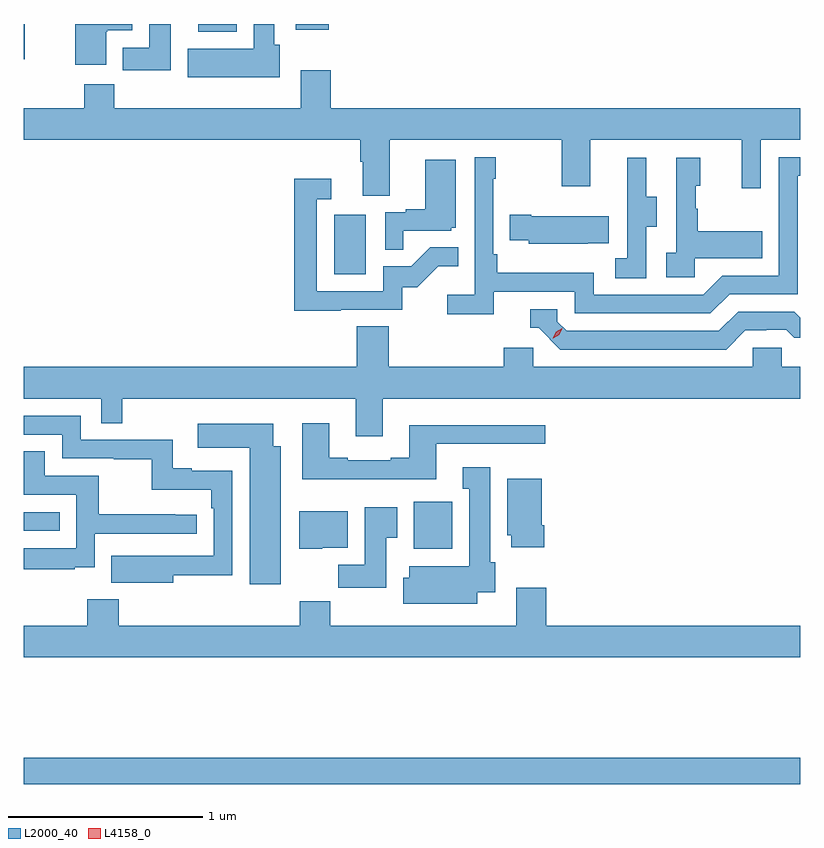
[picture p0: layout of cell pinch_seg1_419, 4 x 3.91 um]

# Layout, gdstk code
import gdstk
lib = gdstk.Library(unit=1e-6, precision=1e-09)
def R(c, l, rs):  # rectangles x0, y0, x1, y1
    for r in rs: c.add(gdstk.rectangle(r[:2], r[2:], *l))
def P(c, l, *ps):  # polygons
    for p in ps: c.add(gdstk.Polygon(p, *l))
L2000_40 = (2000, 40)
L4158_0 = (4158, 0)

pinch_seg1_419 = lib.new_cell('pinch_seg1_419')
R(pinch_seg1_419, L2000_40, [(935.171,523.108,939.171,523.244), (937.181,524.318,937.378,524.56), (935.171,524.412,935.357,524.508), (936.77,525.732,936.934,526.039), (935.171,526.839,935.176,527.021), (936.071,526.982,936.268,527.021), (936.572,526.992,936.743,527.021)])
P(pinch_seg1_419, L2000_40, [(935.596,526.982),(935.602,526.982),(935.602,526.988),(935.731,526.988),(935.731,527.021),(935.438,527.021),(935.438,526.812),(935.596,526.812)],
  [(936.49,526.914),(936.463,526.914),(936.463,527.021),(936.356,527.021),(936.356,526.894),(936.017,526.894),(936.017,526.748),(936.49,526.748)],
  [(935.929,527.021),(935.819,527.021),(935.819,526.9),(935.681,526.9),(935.681,526.782),(935.929,526.782)],
  [(936.905,526.312),(936.917,526.312),(936.917,526.138),(937.057,526.138),(937.057,526.424),(937.942,526.424),(937.942,526.185),(938.089,526.185),(938.089,526.424),(938.87,526.424),(938.87,526.176),(938.967,526.176),(938.967,526.424),(939.171,526.424),(939.171,526.588),(936.752,526.588),(936.752,526.783),(936.599,526.783),(936.599,526.588),(935.639,526.588),(935.639,526.712),(935.483,526.712),(935.483,526.588),(935.171,526.588),(935.171,526.424),(936.905,526.424)],
  [(937.592,525.642),(938.01,525.642),(938.01,525.531),(938.707,525.531),(938.806,525.63),(939.156,525.63),(939.156,526.239),(939.171,526.239),(939.171,526.335),(939.06,526.335),(939.06,525.726),(938.769,525.726),(938.67,525.627),(938.106,525.627),(938.106,525.739),(937.61,525.739),(937.61,525.835),(937.59,525.835),(937.59,526.223),(937.603,526.223),(937.603,526.336),(937.494,526.336),(937.494,525.628),(937.353,525.628),(937.353,525.526),(937.592,525.526)],
  [(938.628,525.815),(938.975,525.815),(938.975,525.955),(938.641,525.955),(938.641,526.07),(938.631,526.07),(938.631,526.188),(938.656,526.188),(938.656,526.333),(938.532,526.333),(938.532,525.842),(938.481,525.842),(938.481,525.717),(938.628,525.717)],
  [(938.376,525.976),(938.431,525.976),(938.431,526.131),(938.377,526.131),(938.377,526.333),(938.279,526.333),(938.279,526.119),(938.28,526.119),(938.28,525.815),(938.217,525.815),(938.217,525.712),(938.376,525.712)],
  [(937.127,525.957),(937.374,525.957),(937.374,525.972),(937.396,525.972),(937.396,526.321),(937.238,526.321),(937.238,526.066),(937.139,526.066),(937.139,526.053),(937.032,526.053),(937.032,525.859),(937.127,525.859)],
  [(936.803,525.549),(937.122,525.549),(937.122,525.666),(937.198,525.666),(937.305,525.773),(937.409,525.773),(937.409,525.872),(937.265,525.872),(937.167,525.774),(937.023,525.774),(937.023,525.645),(936.681,525.645),(936.681,526.119),(936.754,526.119),(936.754,526.225),(936.565,526.225),(936.565,525.544),(936.803,525.544)],
  [(938.075,525.893),(938.183,525.893),(938.183,526.03),(937.786,526.03),(937.786,526.038),(937.675,526.038),(937.675,525.908),(937.773,525.908),(937.773,525.89),(938.075,525.89)],
  [(938.887,525.444),(938.994,525.444),(938.994,525.447),(939.097,525.447),(939.139,525.405),(939.171,525.405),(939.171,525.508),(939.139,525.54),(938.85,525.54),(938.751,525.441),(937.968,525.441),(937.92,525.489),(937.92,525.552),(937.781,525.552),(937.781,525.456),(937.824,525.456),(937.935,525.345),(938.788,525.345)],
  [(937.021,525.092),(939.171,525.092),(939.171,525.256),(939.075,525.256),(939.075,525.354),(938.925,525.354),(938.925,525.256),(937.794,525.256),(937.794,525.354),(937.643,525.354),(937.643,525.256),(937.052,525.256),(937.052,525.464),(936.887,525.464),(936.887,525.256),(935.171,525.256),(935.171,525.092),(935.571,525.092),(935.571,524.965),(935.68,524.965),(935.68,525.092),(936.881,525.092),(936.881,524.898),(937.021,524.898)],
  [(935.941,524.182),(936.246,524.182),(936.246,524.721),(936.037,524.721),(936.037,524.734),(935.94,524.734),(935.94,524.88),(935.466,524.88),(935.466,525.003),(935.171,525.003),(935.171,524.907),(935.37,524.907),(935.37,524.784),(935.635,524.784),(935.635,524.779),(935.832,524.779),(935.832,524.624),(936.137,524.624),(936.137,524.528),(936.15,524.528),(936.15,524.283),(935.837,524.283),(935.837,524.284),(935.623,524.284),(935.623,524.144),(935.941,524.144)],
  [(937.297,524.859),(937.858,524.859),(937.858,524.956),(937.157,524.956),(937.157,524.788),(937.061,524.788),(937.061,524.775),(936.841,524.775),(936.841,524.788),(936.745,524.788),(936.745,524.965),(936.605,524.965),(936.605,524.678),(937.297,524.678)],
  [(936.496,524.848),(936.457,524.848),(936.457,524.962),(936.069,524.962),(936.069,524.84),(936.335,524.84),(936.335,524.136),(936.496,524.136)],
  [(935.435,524.225),(935.538,524.225),(935.538,524.397),(936.064,524.397),(936.064,524.493),(935.951,524.493),(935.951,524.498),(935.558,524.498),(935.558,524.694),(935.281,524.694),(935.281,524.822),(935.171,524.822),(935.171,524.598),(935.442,524.598),(935.442,524.322),(935.171,524.322),(935.171,524.214),(935.435,524.214)],
  [(937.507,524.096),(937.6,524.096),(937.6,524.25),(937.573,524.25),(937.573,524.74),(937.433,524.74),(937.433,524.627),(937.466,524.627),(937.466,524.23),(937.157,524.23),(937.157,524.171),(937.127,524.171),(937.127,524.036),(937.507,524.036)],
  [(937.853,524.44),(937.84,524.44),(937.84,524.68),(937.661,524.68),(937.661,524.388),(937.682,524.388),(937.682,524.328),(937.853,524.328)],
  [(937.039,524.377),(937.096,524.377),(937.096,524.533),(936.929,524.533),(936.929,524.236),(936.79,524.236),(936.79,524.118),(937.039,524.118)],
  [(936.708,524.324),(936.841,524.324),(936.841,524.512),(936.59,524.512),(936.59,524.318),(936.708,524.318)],
  [(939.171,523.924),(937.862,523.924),(937.862,524.119),(937.709,524.119),(937.709,523.924),(936.749,523.924),(936.749,524.048),(936.593,524.048),(936.593,523.924),(935.66,523.924),(935.66,524.059),(935.5,524.059),(935.5,523.924),(935.171,523.924),(935.171,523.76),(939.171,523.76)])
P(pinch_seg1_419, L4158_0, [(937.896,525.403),(937.896,525.403),(937.913,525.436),(937.944,525.455),(937.944,525.455),(937.944,525.454),(937.928,525.422),(937.897,525.403)])

lib.write_gds('pinch_seg1_419.gds')
